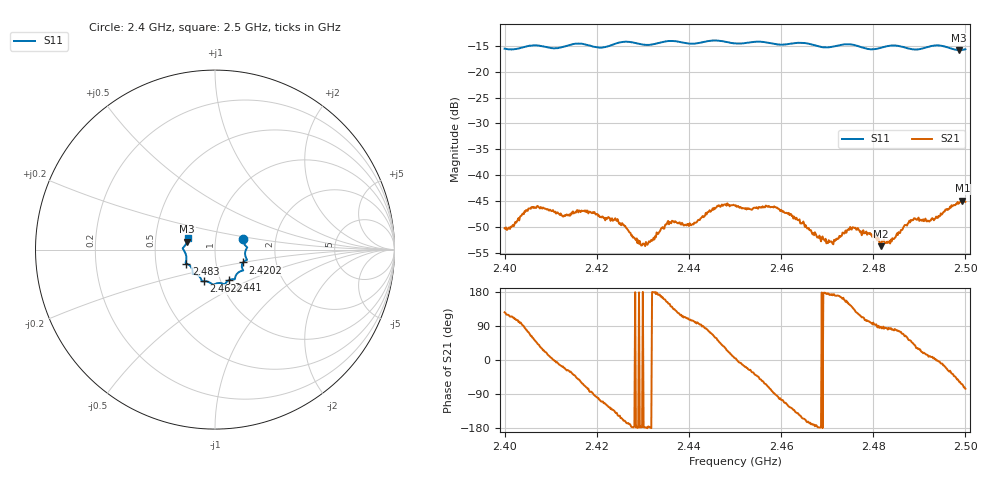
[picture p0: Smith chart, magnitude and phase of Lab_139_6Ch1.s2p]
# Hz S RI R 50
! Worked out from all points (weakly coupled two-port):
!   601 points, 2.4 GHz to 2.5 GHz, reference 50 ohm
!   highest |S21| = -44.94 dB at 2.4993 GHz (marker M1); lowest = -53.8 dB at 2.4817 GHz (marker M2)
!   lowest |S11| = -15.8 dB at 2.4987 GHz (marker M3), VSWR 1.39, Z = 36.4 + j3.3 ohm
!   |S11| at or under -10 dB: start of sweep to end of sweep
!   S12 and S22 are empty: the file has one direction only
!   S11 on the Smith chart (normalised r, x): 2.4 GHz: 1.36, +0.17; 2.4202 GHz: 1.35, -0.20; 2.441 GHz: 1.10, -0.39; 2.4622 GHz: 0.83, -0.30; 2.483 GHz: 0.72, -0.12; 2.5 GHz: 0.73, +0.09
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2.4e9  0.1562 0.0603  -0.00179 0.00248  0 0  0 0
2.405833e9  0.1789 0.0138  0.00217 0.00439  0 0  0 0
2.416667e9  0.1776 -0.0582  0.00231 -0.00391  0 0  0 0
2.420167e9  0.1562 -0.0717  -0.000701 -0.00413  0 0  0 0
2.4245e9  0.1543 -0.1104  -0.00307 -0.00216  0 0  0 0
2.43e9  0.1344 -0.1246  -0.00217 1.65e-05  0 0  0 0
2.433333e9  0.113 -0.1523  -0.00266 0.000389  0 0  0 0
2.435833e9  0.111 -0.1648  -0.00297 0.00185  0 0  0 0
2.441e9  0.0769 -0.1705  -0.000736 0.00324  0 0  0 0
2.45e9  0.0267 -0.1863  0.00505 0.000407  0 0  0 0
2.462167e9  -0.063 -0.1763  -0.00246 -0.00339  0 0  0 0
2.466667e9  -0.0764 -0.167  -0.00272 -0.000548  0 0  0 0
2.471e9  -0.1058 -0.1384  -0.00224 0.000256  0 0  0 0
2.476e9  -0.1252 -0.1305  -0.00202 0.0023  0 0  0 0
2.481667e9  -0.1496 -0.0821  7.39e-05 0.00205  0 0  0 0
2.483e9  -0.1588 -0.0779  0.000256 0.00227  0 0  0 0
2.483333e9  -0.1605 -0.0772  0.000214 0.00232  0 0  0 0
2.488333e9  -0.1594 -0.0442  0.00248 0.00266  0 0  0 0
2.4935e9  -0.1797 0.00512  0.00381 0.000195  0 0  0 0
2.498667e9  -0.1558 0.0441  0.00287 -0.00458  0 0  0 0
2.499333e9  -0.1535 0.0534  0.00246 -0.0051  0 0  0 0
2.5e9  -0.1529 0.0627  0.00136 -0.00534  0 0  0 0
